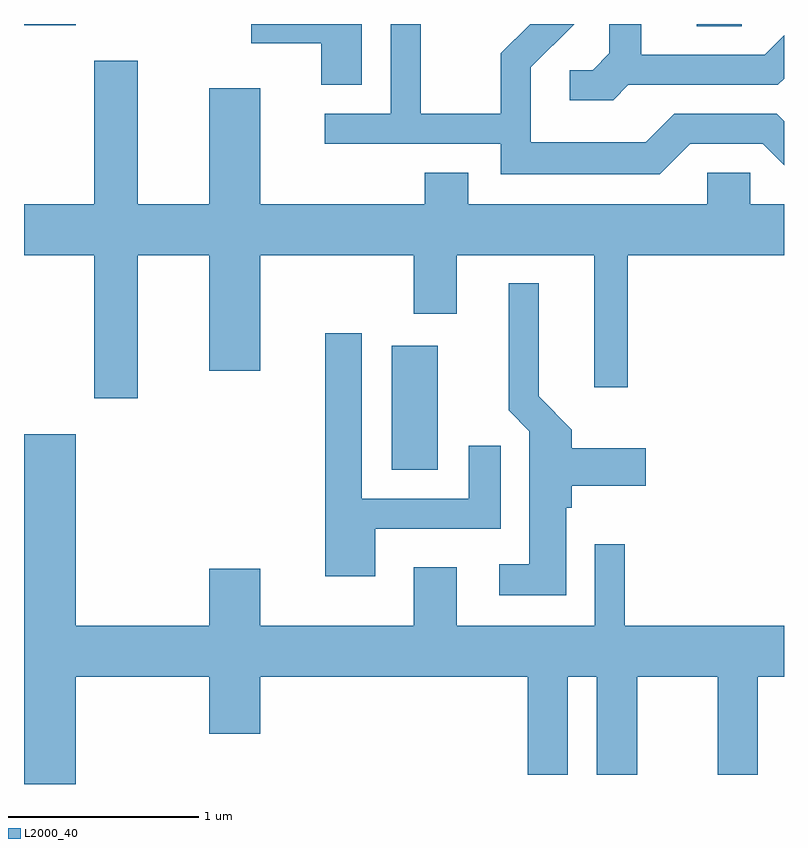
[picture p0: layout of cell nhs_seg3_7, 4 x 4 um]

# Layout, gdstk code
import gdstk
lib = gdstk.Library(unit=1e-6, precision=1e-09)
def R(c, l, rs):  # rectangles x0, y0, x1, y1
    for r in rs: c.add(gdstk.rectangle(r[:2], r[2:], *l))
def P(c, l, *ps):  # polygons
    for p in ps: c.add(gdstk.Polygon(p, *l))
L2000_40 = (2000, 40)

nhs_seg3_7 = lib.new_cell('nhs_seg3_7')
R(nhs_seg3_7, L2000_40, [(187.546,1131.546,187.789,1132.199), (189.151,1133.881,189.389,1133.892), (185.611,1133.886,185.884,1133.892)])
P(nhs_seg3_7, L2000_40, [(187.389,1133.892),(186.806,1133.892),(186.806,1133.791),(187.176,1133.791),(187.176,1133.571),(187.389,1133.571)],
  [(189.117,1133.261),(189.499,1133.261),(189.611,1133.149),(189.611,1133.38),(189.572,1133.419),(189.034,1133.419),(188.884,1133.269),(188.279,1133.269),(188.279,1133.664),(188.507,1133.892),(188.276,1133.892),(188.121,1133.737),(188.121,1133.419),(187.699,1133.419),(187.699,1133.892),(187.541,1133.892),(187.541,1133.419),(187.193,1133.419),(187.193,1133.261),(188.121,1133.261),(188.121,1133.101),(188.957,1133.101)],
  [(188.792,1133.571),(189.577,1133.571),(189.611,1133.605),(189.611,1133.832),(189.509,1133.729),(188.859,1133.729),(188.859,1133.892),(188.691,1133.892),(188.691,1133.737),(188.604,1133.649),(188.483,1133.649),(188.483,1133.491),(188.712,1133.491)],
  [(186.209,1132.676),(186.586,1132.676),(186.586,1132.066),(186.854,1132.066),(186.854,1132.676),(187.661,1132.676),(187.661,1132.366),(187.889,1132.366),(187.889,1132.676),(188.611,1132.676),(188.611,1131.981),(188.789,1131.981),(188.789,1132.676),(189.611,1132.676),(189.611,1132.944),(189.434,1132.944),(189.434,1133.109),(189.206,1133.109),(189.206,1132.944),(187.949,1132.944),(187.949,1133.109),(187.721,1133.109),(187.721,1132.944),(186.854,1132.944),(186.854,1133.554),(186.586,1133.554),(186.586,1132.944),(186.209,1132.944),(186.209,1133.699),(185.981,1133.699),(185.981,1132.944),(185.611,1132.944),(185.611,1132.676),(185.981,1132.676),(185.981,1131.921),(186.209,1131.921)],
  [(188.464,1131.346),(188.494,1131.346),(188.494,1131.461),(188.884,1131.461),(188.884,1131.659),(188.494,1131.659),(188.494,1131.757),(188.319,1131.932),(188.319,1132.528),(188.161,1132.528),(188.161,1131.859),(188.271,1131.749),(188.271,1131.049),(188.113,1131.049),(188.113,1130.886),(188.464,1130.886)],
  [(187.459,1131.236),(188.119,1131.236),(188.119,1131.673),(187.951,1131.673),(187.951,1131.394),(187.389,1131.394),(187.389,1132.264),(187.196,1132.264),(187.196,1130.986),(187.459,1130.986)],
  [(185.884,1130.456),(186.586,1130.456),(186.586,1130.156),(186.854,1130.156),(186.854,1130.456),(188.261,1130.456),(188.261,1129.941),(188.474,1129.941),(188.474,1130.456),(188.626,1130.456),(188.626,1129.941),(188.839,1129.941),(188.839,1130.456),(189.261,1130.456),(189.261,1129.941),(189.474,1129.941),(189.474,1130.456),(189.611,1130.456),(189.611,1130.724),(188.774,1130.724),(188.774,1131.153),(188.616,1131.153),(188.616,1130.724),(187.889,1130.724),(187.889,1131.034),(187.661,1131.034),(187.661,1130.724),(186.854,1130.724),(186.854,1131.024),(186.586,1131.024),(186.586,1130.724),(185.884,1130.724),(185.884,1131.734),(185.611,1131.734),(185.611,1129.892),(185.884,1129.892)])

lib.write_gds('nhs_seg3_7.gds')
